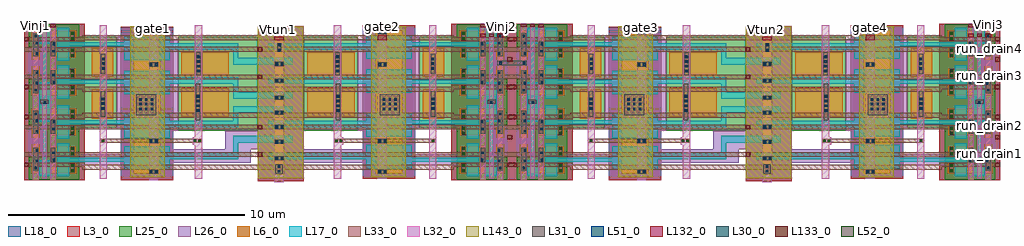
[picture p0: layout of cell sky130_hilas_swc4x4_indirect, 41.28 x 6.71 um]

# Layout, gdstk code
from math import pi, radians
import gdstk
lib = gdstk.Library(unit=1e-6, precision=1e-09)
def R(c, l, rs):  # rectangles x0, y0, x1, y1
    for r in rs: c.add(gdstk.rectangle(r[:2], r[2:], *l))
def A(c, l, x, y, w, h, nx, ny, dx, dy):  # array of equal rectangles
    R(c, l, [(x+i*dx, y+j*dy, x+i*dx+w, y+j*dy+h) for i in range(nx) for j in range(ny)])
def P(c, l, *ps):  # polygons
    for p in ps: c.add(gdstk.Polygon(p, *l))
L3_0 = (3, 0)
L6_0 = (6, 0)
L17_0 = (17, 0)
L18_0 = (18, 0)
L25_0 = (25, 0)
L26_0 = (26, 0)
L30_0 = (30, 0)
L31_0 = (31, 0)
L32_0 = (32, 0)
L33_0 = (33, 0)
L51_0 = (51, 0)
L52_0 = (52, 0)
L132_0 = (132, 0)
L133_0 = (133, 0)
L143_0 = (143, 0)

m3_m2_cdns_6762458592114 = lib.new_cell('M3_M2_CDNS_6762458592114')
R(m3_m2_cdns_6762458592114, L32_0, [(-0.09,-0.19,0.09,0.19)])
R(m3_m2_cdns_6762458592114, L33_0, [(-0.09,-0.19,0.09,0.19)])
R(m3_m2_cdns_6762458592114, L52_0, [(-0.05,-0.15,0.05,-0.05), (-0.05,0.05,0.05,0.15)])

m2_m1_cdns_6762458592115 = lib.new_cell('M2_M1_CDNS_6762458592115')
R(m2_m1_cdns_6762458592115, L31_0, [(-0.09,-0.19,0.09,0.19)])
R(m2_m1_cdns_6762458592115, L32_0, [(-0.09,-0.19,0.09,0.19)])
R(m2_m1_cdns_6762458592115, L51_0, [(-0.05,-0.15,0.05,-0.05), (-0.05,0.05,0.05,0.15)])

m1_od_cdns_6762458592116 = lib.new_cell('M1_OD_CDNS_6762458592116')
R(m1_od_cdns_6762458592116, L6_0, [(-0.075,-0.18,0.075,0.18)])
R(m1_od_cdns_6762458592116, L30_0, [(-0.045,-0.15,0.045,-0.06), (-0.045,0.06,0.045,0.15)])
R(m1_od_cdns_6762458592116, L31_0, [(-0.09,-0.19,0.09,0.19)])

sky130_hilas_horizpcell0 = lib.new_cell('sky130_hilas_horizPcell01')
R(sky130_hilas_horizpcell0, L3_0, [(-2.89,0.4,-0.33,2.32)])
R(sky130_hilas_horizpcell0, L6_0, [(-2.54,0.71,-0.66,1.11), (-2.51,1.44,-1.43,1.84), (-1,1.495,-0.66,1.935)])
R(sky130_hilas_horizpcell0, L17_0, [(-2.235,0.57,-1.735,1.19), (-1.485,0.57,-0.985,1.25), (-2.295,1.19,-1.735,1.36), (-2.235,1.36,-1.735,1.98)])
R(sky130_hilas_horizpcell0, L18_0, [(-2.89,0.4,-0.33,2.32)])
P(sky130_hilas_horizpcell0, L25_0, [(-2.67,0.42),(-2.67,2.13),(-1.3,2.13),(-1.3,1.4),(-0.53,1.4),(-0.53,0.42)])
R(sky130_hilas_horizpcell0, L26_0, [(-1.125,1.4,-0.535,2.06)])
R(sky130_hilas_horizpcell0, L30_0, [(-0.875,0.88,-0.785,0.97), (-1.62,1.52,-1.53,1.61), (-0.915,1.62,-0.825,1.71)])
R(sky130_hilas_horizpcell0, L31_0, [(-0.94,0.8,-0.72,1.18), (-0.93,0.8,-0.73,1.15), (-0.93,1.15,-0.72,1.18), (-1.66,1.17,-1.46,1.77), (-0.94,1.18,-0.72,1.77)])
R(sky130_hilas_horizpcell0, L32_0, [(-1.68,0.42,-1.45,1.15), (-0.96,0.42,-0.69,1.12), (-1.29,0.47,-1.1,1.46), (-0.96,1.12,-0.69,1.67), (-1.68,1.15,-1.45,1.17), (-1.68,1.17,-1.45,1.41), (-1.68,1.41,-1.45,1.46), (-1.68,1.46,-1.45,2.32), (-1.29,1.46,-1.1,1.58), (-1.29,1.58,-1.1,2.32), (-0.96,1.67,-0.69,1.72), (-0.96,1.72,-0.69,1.81), (-0.96,1.81,-0.69,2.32)])
R(sky130_hilas_horizpcell0, L33_0, [(-2.89,0.97,-2.51,1.15), (-2.51,0.97,-0.33,1.15), (-2.89,1.4,-2.5,1.58), (-2.5,1.4,-0.33,1.58)])
R(sky130_hilas_horizpcell0, L51_0, [(-0.92,1.18,-0.82,1.28), (-1.65,1.21,-1.55,1.31)])
sky130_hilas_horizpcell0.add(gdstk.Reference(m3_m2_cdns_6762458592114, (-2.385,0.92)))
sky130_hilas_horizpcell0.add(gdstk.Reference(m3_m2_cdns_6762458592114, (-2.375,1.64)))
sky130_hilas_horizpcell0.add(gdstk.Reference(m2_m1_cdns_6762458592115, (-2.375,1.64)))
sky130_hilas_horizpcell0.add(gdstk.Reference(m2_m1_cdns_6762458592115, (-2.385,0.92)))
sky130_hilas_horizpcell0.add(gdstk.Reference(m1_od_cdns_6762458592116, (-2.375,1.64)))
sky130_hilas_horizpcell0.add(gdstk.Reference(m1_od_cdns_6762458592116, (-2.385,0.92)))

sky130_hilas_fgvaractorc = lib.new_cell('sky130_hilas_FGVaractorCapacitor')
R(sky130_hilas_fgvaractorc, L3_0, [(0,0,2.23,1.86)])
R(sky130_hilas_fgvaractorc, L6_0, [(0.56,0.325,1.67,1.555)])
R(sky130_hilas_fgvaractorc, L17_0, [(0.16,0.44,2.08,1.44)])
R(sky130_hilas_fgvaractorc, L18_0, [(0,0,2.23,1.86)])
R(sky130_hilas_fgvaractorc, L26_0, [(0,0.215,2.23,1.635)])
R(sky130_hilas_fgvaractorc, L32_0, [(0.65,0,1.03,1.86)])

m1_od_cdns_676245859215 = lib.new_cell('M1_OD_CDNS_676245859215')
R(m1_od_cdns_676245859215, L6_0, [(-0.075,-0.285,0.075,0.285)])
A(m1_od_cdns_676245859215, L30_0, -0.045, -0.255, 0.09, 0.09, 1, 3, 0, 0.21)
R(m1_od_cdns_676245859215, L31_0, [(-0.085,-0.295,0.085,0.295)])

m2_m1_cdns_676245859216 = lib.new_cell('M2_M1_CDNS_676245859216')
R(m2_m1_cdns_676245859216, L31_0, [(-0.09,-0.29,0.09,0.29)])
R(m2_m1_cdns_676245859216, L32_0, [(-0.09,-0.29,0.09,0.29)])
A(m2_m1_cdns_676245859216, L51_0, -0.05, -0.25, 0.1, 0.1, 1, 3, 0, 0.2)

m1_od_cdns_676245859217 = lib.new_cell('M1_OD_CDNS_676245859217')
R(m1_od_cdns_676245859217, L6_0, [(-0.075,-0.39,0.075,0.39)])
A(m1_od_cdns_676245859217, L30_0, -0.045, -0.36, 0.09, 0.09, 1, 4, 0, 0.21)
R(m1_od_cdns_676245859217, L31_0, [(-0.085,-0.4,0.085,0.4)])

m2_m1_cdns_676245859218 = lib.new_cell('M2_M1_CDNS_676245859218')
R(m2_m1_cdns_676245859218, L31_0, [(-0.09,-0.39,0.09,0.39)])
R(m2_m1_cdns_676245859218, L32_0, [(-0.09,-0.39,0.09,0.39)])
A(m2_m1_cdns_676245859218, L51_0, -0.05, -0.35, 0.1, 0.1, 1, 4, 0, 0.2)

m3_m2_cdns_676245859219 = lib.new_cell('M3_M2_CDNS_676245859219')
R(m3_m2_cdns_676245859219, L32_0, [(-0.09,-0.09,0.09,0.09)])
R(m3_m2_cdns_676245859219, L33_0, [(-0.09,-0.09,0.09,0.09)])
R(m3_m2_cdns_676245859219, L52_0, [(-0.05,-0.05,0.05,0.05)])

m3_m2_cdns_6762458592110 = lib.new_cell('M3_M2_CDNS_6762458592110')
R(m3_m2_cdns_6762458592110, L32_0, [(-0.19,-0.09,0.19,0.09)])
R(m3_m2_cdns_6762458592110, L33_0, [(-0.19,-0.09,0.19,0.09)])
R(m3_m2_cdns_6762458592110, L52_0, [(-0.15,-0.05,-0.05,0.05), (0.05,-0.05,0.15,0.05)])

m2_m1_cdns_6762458592111 = lib.new_cell('M2_M1_CDNS_6762458592111')
R(m2_m1_cdns_6762458592111, L31_0, [(-0.33,-0.29,0.33,0.29)])
R(m2_m1_cdns_6762458592111, L32_0, [(-0.33,-0.29,0.33,0.29)])
A(m2_m1_cdns_6762458592111, L51_0, -0.29, -0.25, 0.1, 0.1, 3, 3, 0.24, 0.2)

m1_od_cdns_6762458592112 = lib.new_cell('M1_OD_CDNS_6762458592112')
R(m1_od_cdns_6762458592112, L6_0, [(-0.315,-0.285,0.315,0.285)])
A(m1_od_cdns_6762458592112, L30_0, -0.285, -0.255, 0.09, 0.09, 3, 3, 0.24, 0.21)
R(m1_od_cdns_6762458592112, L31_0, [(-0.325,-0.295,0.325,0.295)])

m1_od_cdns_6762458592113 = lib.new_cell('M1_OD_CDNS_6762458592113')
R(m1_od_cdns_6762458592113, L6_0, [(-0.18,-0.075,0.18,0.075)])
R(m1_od_cdns_6762458592113, L30_0, [(-0.15,-0.045,-0.06,0.045), (0.06,-0.045,0.15,0.045)])
R(m1_od_cdns_6762458592113, L31_0, [(-0.19,-0.085,0.19,0.085)])

m2_m1_cdns_676245859213 = lib.new_cell('M2_M1_CDNS_676245859213')
R(m2_m1_cdns_676245859213, L31_0, [(-0.19,-0.09,0.19,0.09)])
R(m2_m1_cdns_676245859213, L32_0, [(-0.19,-0.09,0.19,0.09)])
R(m2_m1_cdns_676245859213, L51_0, [(-0.15,-0.05,-0.05,0.05), (0.05,-0.05,0.15,0.05)])

sky130_hilas_swc4x2_indi = lib.new_cell('sky130_hilas_swc4x2_indirect_subcellb')
R(sky130_hilas_swc4x2_indi, L3_0, [(8.045,3.24,8.215,3.34), (8.385,3.24,8.395,3.34), (8.045,3.34,8.395,3.35), (8.045,3.35,8.215,3.41)])
R(sky130_hilas_swc4x2_indi, L6_0, [(3.405,0.285,4.515,0.385), (3.405,1.57,4.515,1.76), (5.39,2.61,6.31,3.855), (0.515,2.66,2.51,3.915), (3.405,2.92,4.515,3.6), (5.39,4.36,6.31,5.6), (0.515,4.43,2.51,5.425), (3.405,4.77,4.515,5.04), (3.405,6.255,4.515,6.355)])
R(sky130_hilas_swc4x2_indi, L17_0, [(8.225,0.745,8.375,2.645), (4.925,0.79,7.275,0.96), (0.11,0.89,3.005,1.17), (0.11,2.24,3.005,2.52), (4.925,2.38,7.275,2.55), (8.01,3.17,8.51,3.46), (8.22,3.985,8.37,5.885), (4.925,4.08,7.275,4.25), (0.11,4.09,3.005,4.37), (0.11,5.53,3.005,5.81), (4.925,5.67,7.275,5.84)])
R(sky130_hilas_swc4x2_indi, L18_0, [(3.405,1.57,4.515,1.76), (3.405,4.77,4.515,5.04)])
R(sky130_hilas_swc4x2_indi, L25_0, [(6.86,1.575,8.19,1.805), (0.355,2.09,2.65,4.155), (5.24,2.23,6.46,4.005), (6.46,2.23,6.825,6.07), (5.24,4.005,6.46,6.07), (0.355,4.155,2.65,6.07), (8.195,4.29,8.37,5.63), (6.86,4.825,8.19,5.045)])
R(sky130_hilas_swc4x2_indi, L26_0, [(2.845,0.18,5.075,0.275), (5.075,0.64,6.825,1.11), (0,0.74,2.845,1.32), (8.195,1,8.37,2.34), (8.37,1.605,8.96,1.775), (2.65,2.09,2.845,5.96), (5.075,2.23,5.24,6.07), (2.845,3.045,5.075,3.475), (2.845,4.645,5.075,5.165), (8.37,4.855,8.96,5.015), (2.845,6.335,5.075,6.46)])
R(sky130_hilas_swc4x2_indi, L30_0, [(8.225,3.24,8.315,3.33)])
R(sky130_hilas_swc4x2_indi, L31_0, [(1.705,2.55,1.895,4.08), (5.725,2.7,5.915,3.76), (3.58,2.755,4.415,3.645), (8.145,3.24,8.475,3.41), (1.695,4.44,1.885,5.425), (5.72,4.52,5.91,5.365)])
R(sky130_hilas_swc4x2_indi, L32_0, [(1.635,0.06,1.945,1.51), (3.495,0.06,3.875,0.34), (5.665,0.06,5.965,1.52), (8.205,0.06,8.395,0.12), (7.835,0.25,7.995,0.32), (8.205,0.25,8.395,0.32), (8.645,0.25,8.805,0.32), (1.635,1.51,2.025,1.82), (5.665,1.52,5.965,1.54), (5.665,1.54,5.965,1.82), (1.635,1.82,1.945,6.56), (5.665,1.82,5.965,1.85), (5.665,1.85,5.965,6.56), (3.495,2.66,4.465,3.74), (8.285,3.11,8.395,3.21), (8.185,3.21,8.425,3.44), (7.835,3.31,7.995,3.32), (8.645,3.31,8.805,3.32), (3.495,6.19,3.875,6.56), (7.835,6.22,7.995,6.29), (8.205,6.22,8.395,6.29), (8.645,6.22,8.805,6.29), (8.205,6.5,8.395,6.56), (8.205,6.56,8.395,6.63), (7.815,6.61,8.045,6.63), (8.535,6.61,8.805,6.63)])
R(sky130_hilas_swc4x2_indi, L33_0, [(0.11,1,6.705,1.18), (1.645,1.585,5.965,1.765), (0.11,2.16,6.725,2.36), (0.11,4.27,6.725,4.47), (0.12,5.44,6.705,5.65)])
R(sky130_hilas_swc4x2_indi, L51_0, [(8.225,3.24,8.325,3.34)])
R(sky130_hilas_swc4x2_indi, L132_0, [(3.495,6.365,3.875,6.56), (7.815,6.485,8.045,6.63), (8.535,6.49,8.805,6.63), (8.205,6.5,8.395,6.63)])
R(sky130_hilas_swc4x2_indi, L133_0, [(8.97,0.57,9.165,0.75), (8.97,2.59,9.165,2.77), (8.97,3.86,9.165,4.04), (8.97,5.88,9.165,6.06)])
R(sky130_hilas_swc4x2_indi, L143_0, [(3.205,0.125,4.675,6.515)])
sky130_hilas_swc4x2_indi.add(gdstk.Reference(sky130_hilas_horizpcell0, (9.495,7.03), x_reflection=True))
sky130_hilas_swc4x2_indi.add(gdstk.Reference(sky130_hilas_horizpcell0, (9.495,2.89)))
sky130_hilas_swc4x2_indi.add(gdstk.Reference(sky130_hilas_horizpcell0, (9.495,3.74), x_reflection=True))
sky130_hilas_swc4x2_indi.add(gdstk.Reference(sky130_hilas_horizpcell0, (9.495,-0.4)))
sky130_hilas_swc4x2_indi.add(gdstk.Reference(sky130_hilas_fgvaractorc, (2.845,4.64)))
sky130_hilas_swc4x2_indi.add(gdstk.Reference(sky130_hilas_fgvaractorc, (2.845,3.2)))
sky130_hilas_swc4x2_indi.add(gdstk.Reference(sky130_hilas_fgvaractorc, (2.845,1.35)))
sky130_hilas_swc4x2_indi.add(gdstk.Reference(sky130_hilas_fgvaractorc, (2.845,0)))
sky130_hilas_swc4x2_indi.add(gdstk.Reference(m1_od_cdns_676245859215, (5.82,3.245)))
sky130_hilas_swc4x2_indi.add(gdstk.Reference(m1_od_cdns_676245859215, (5.815,4.94)))
sky130_hilas_swc4x2_indi.add(gdstk.Reference(m2_m1_cdns_676245859216, (5.82,3.245)))
sky130_hilas_swc4x2_indi.add(gdstk.Reference(m2_m1_cdns_676245859216, (5.815,4.94)))
sky130_hilas_swc4x2_indi.add(gdstk.Reference(m1_od_cdns_676245859217, (1.805,3.255)))
sky130_hilas_swc4x2_indi.add(gdstk.Reference(m1_od_cdns_676245859217, (1.79,4.925)))
sky130_hilas_swc4x2_indi.add(gdstk.Reference(m2_m1_cdns_676245859218, (1.805,3.255)))
sky130_hilas_swc4x2_indi.add(gdstk.Reference(m2_m1_cdns_676245859218, (1.79,4.925)))
sky130_hilas_swc4x2_indi.add(gdstk.Reference(m3_m2_cdns_676245859219, (5.82,1.675)))
sky130_hilas_swc4x2_indi.add(gdstk.Reference(m3_m2_cdns_6762458592110, (1.835,1.675)))
sky130_hilas_swc4x2_indi.add(gdstk.Reference(m2_m1_cdns_6762458592111, (3.995,3.225)))
sky130_hilas_swc4x2_indi.add(gdstk.Reference(m1_od_cdns_6762458592112, (3.995,3.225)))
sky130_hilas_swc4x2_indi.add(gdstk.Reference(m1_od_cdns_6762458592113, (3.685,0.365)))
sky130_hilas_swc4x2_indi.add(gdstk.Reference(m1_od_cdns_6762458592113, (3.685,1.66)))
sky130_hilas_swc4x2_indi.add(gdstk.Reference(m1_od_cdns_6762458592113, (3.685,4.9)))
sky130_hilas_swc4x2_indi.add(gdstk.Reference(m1_od_cdns_6762458592113, (3.685,6.275)))
sky130_hilas_swc4x2_indi.add(gdstk.Reference(m2_m1_cdns_676245859213, (3.685,0.365)))
sky130_hilas_swc4x2_indi.add(gdstk.Reference(m2_m1_cdns_676245859213, (3.685,1.66)))
sky130_hilas_swc4x2_indi.add(gdstk.Reference(m2_m1_cdns_676245859213, (3.685,6.275)))
sky130_hilas_swc4x2_indi.add(gdstk.Reference(m2_m1_cdns_676245859213, (3.685,4.9)))
sky130_hilas_swc4x2_indi.add(gdstk.Label('col_sel', (8.3,6.45), layer=132, texttype=0))
sky130_hilas_swc4x2_indi.add(gdstk.Label('run_source', (7.915,6.565), layer=132, texttype=0))
sky130_hilas_swc4x2_indi.add(gdstk.Label('Vgate', (3.69,6.48), layer=132, texttype=0))
sky130_hilas_swc4x2_indi.add(gdstk.Label('Vinj', (8.665,6.57), layer=132, texttype=0))
sky130_hilas_swc4x2_indi.add(gdstk.Label('prog_drain1', (9.045,0.67), layer=133, texttype=0))
sky130_hilas_swc4x2_indi.add(gdstk.Label('prog_drain2', (9.04,2.705), layer=133, texttype=0))
sky130_hilas_swc4x2_indi.add(gdstk.Label('prog_drain3', (9.055,3.965), layer=133, texttype=0))
sky130_hilas_swc4x2_indi.add(gdstk.Label('prog_drain4', (9.055,5.985), layer=133, texttype=0))

sky130_hilas_tuncap01_v2 = lib.new_cell('sky130_hilas_TunCap01_v2')
R(sky130_hilas_tuncap01_v2, L3_0, [(-14.63,-3.945,-13.09,-2.14)])
R(sky130_hilas_tuncap01_v2, L6_0, [(-14.06,-3.67,-13.66,-2.47)])
R(sky130_hilas_tuncap01_v2, L18_0, [(-14.63,-3.945,-13.09,-2.14)])
R(sky130_hilas_tuncap01_v2, L26_0, [(-14.52,-3.8,-13.2,-2.34)])

m2_m1_cdns_676245859211 = lib.new_cell('M2_M1_CDNS_676245859211')
R(m2_m1_cdns_676245859211, L31_0, [(-0.09,-0.19,0.09,0.19)])
R(m2_m1_cdns_676245859211, L32_0, [(-0.09,-0.19,0.09,0.19)])
R(m2_m1_cdns_676245859211, L51_0, [(-0.05,-0.15,0.05,-0.05), (-0.05,0.05,0.05,0.15)])

m1_od_cdns_6762458592117 = lib.new_cell('M1_OD_CDNS_6762458592117')
R(m1_od_cdns_6762458592117, L6_0, [(-0.075,-0.18,0.075,0.18)])
R(m1_od_cdns_6762458592117, L30_0, [(-0.045,-0.15,0.045,-0.06), (-0.045,0.06,0.045,0.15)])
R(m1_od_cdns_6762458592117, L31_0, [(-0.085,-0.19,0.085,0.19)])

c_sky130_hilas_swc4x2_indi = lib.new_cell('sky130_hilas_swc4x2_indirect_subcella')
R(c_sky130_hilas_swc4x2_indi, L3_0, [(0,0.055,0.16,6.6), (1.7,0.055,1.945,6.6), (0.16,3.06,1.7,3.395), (9.635,3.325,9.805,3.425), (9.975,3.325,9.985,3.425), (9.635,3.425,9.985,3.435), (9.635,3.435,9.805,3.495), (0.16,6.375,1.7,6.6)])
R(c_sky130_hilas_swc4x2_indi, L6_0, [(4.995,0.37,6.105,0.47), (4.995,1.655,6.105,1.845), (6.98,2.695,7.9,3.94), (0.73,2.73,1.13,3.67), (2.105,2.745,4.1,4), (4.995,3.005,6.105,3.685), (6.98,4.445,7.9,5.685), (2.105,4.515,4.1,5.51), (4.995,4.855,6.105,5.125), (0.73,6.045,1.13,6.43), (4.995,6.34,6.105,6.44)])
R(c_sky130_hilas_swc4x2_indi, L17_0, [(9.815,0.83,9.965,2.73), (6.515,0.875,8.865,1.045), (0.45,0.975,1.7,1.255), (1.7,0.975,4.595,1.255), (0.45,2.325,1.7,2.605), (1.7,2.325,4.595,2.605), (6.515,2.465,8.865,2.635), (9.6,3.255,10.1,3.545), (9.81,4.07,9.96,5.97), (6.515,4.165,8.865,4.335), (0.45,4.175,1.7,4.455), (1.7,4.175,4.595,4.455), (0.45,5.615,1.7,5.895), (1.7,5.615,4.595,5.895), (6.515,5.755,8.865,5.925)])
R(c_sky130_hilas_swc4x2_indi, L18_0, [(0,0.055,0.16,6.6), (1.7,0.055,1.945,6.6), (4.995,1.655,6.105,1.845), (0.16,3.06,1.7,3.395), (4.995,4.855,6.105,5.125), (0.16,6.375,1.7,6.6)])
R(c_sky130_hilas_swc4x2_indi, L25_0, [(8.45,1.66,9.78,1.89), (1.945,2.175,4.24,4.24), (6.83,2.315,8.05,4.09), (8.05,2.315,8.415,6.155), (6.83,4.09,8.05,6.155), (1.945,4.24,4.24,6.155), (9.785,4.375,9.96,5.715), (8.45,4.91,9.78,5.13)])
R(c_sky130_hilas_swc4x2_indi, L26_0, [(0,0.2,0.27,6.575), (1.59,0.2,1.945,6.575), (4.435,0.265,6.665,0.36), (6.665,0.725,8.415,1.195), (1.59,0.825,4.435,1.405), (9.785,1.085,9.96,2.425), (9.96,1.69,10.55,1.86), (4.24,2.175,4.435,6.045), (6.665,2.315,6.83,6.155), (0.27,2.86,1.59,3.54), (4.435,3.13,6.665,3.56), (4.435,4.73,6.665,5.25), (9.96,4.94,10.55,5.1), (0.27,6.175,1.59,6.575), (4.435,6.42,6.665,6.545)])
R(c_sky130_hilas_swc4x2_indi, L30_0, [(9.815,3.325,9.905,3.415)])
R(c_sky130_hilas_swc4x2_indi, L31_0, [(0.75,0.365,1.055,0.775), (3.295,2.635,3.485,4.165), (7.315,2.785,7.505,3.845), (5.17,2.84,6.005,3.73), (9.735,3.325,10.065,3.495), (3.285,4.525,3.475,5.51), (7.31,4.605,7.5,5.45)])
R(c_sky130_hilas_swc4x2_indi, L32_0, [(0.7,0,1.1,6.5), (3.225,0.145,3.535,1.595), (5.085,0.145,5.465,0.425), (7.255,0.145,7.555,1.605), (9.795,0.145,9.985,0.205), (9.425,0.335,9.585,0.405), (9.795,0.335,9.985,0.405), (10.235,0.335,10.395,0.405), (3.225,1.595,3.615,1.905), (7.255,1.605,7.555,1.625), (7.255,1.625,7.555,1.905), (3.225,1.905,3.535,6.645), (7.255,1.905,7.555,1.935), (7.255,1.935,7.555,6.645), (5.085,2.745,6.055,3.825), (9.875,3.195,9.985,3.295), (9.775,3.295,10.015,3.525), (9.425,3.395,9.585,3.405), (10.235,3.395,10.395,3.405), (5.085,6.275,5.465,6.645), (9.425,6.305,9.585,6.375), (9.795,6.305,9.985,6.375), (10.235,6.305,10.395,6.375), (0.7,6.5,1.1,6.6), (9.795,6.585,9.985,6.645), (9.795,6.645,9.985,6.715), (9.405,6.695,9.635,6.715), (10.125,6.695,10.395,6.715)])
R(c_sky130_hilas_swc4x2_indi, L33_0, [(0,1.085,8.295,1.265), (3.235,1.67,7.555,1.85), (0,2.245,8.315,2.445), (0,4.355,8.315,4.555), (0,5.525,8.295,5.735)])
R(c_sky130_hilas_swc4x2_indi, L51_0, [(9.815,3.325,9.915,3.425)])
R(c_sky130_hilas_swc4x2_indi, L132_0, [(0.7,6.45,1.1,6.6), (5.085,6.45,5.465,6.645), (9.405,6.57,9.635,6.715), (10.125,6.575,10.395,6.715), (9.795,6.585,9.985,6.715)])
R(c_sky130_hilas_swc4x2_indi, L133_0, [(10.56,0.655,10.755,0.835), (0,1.085,0.19,1.265), (0,2.245,0.19,2.425), (10.56,2.675,10.755,2.855), (10.56,3.945,10.755,4.125), (0.005,4.375,0.195,4.555), (0.002,5.535,0.197,5.715), (10.56,5.965,10.755,6.145)])
R(c_sky130_hilas_swc4x2_indi, L143_0, [(0.005,0.17,1.935,6.59), (4.795,0.21,6.265,6.6)])
c_sky130_hilas_swc4x2_indi.add(gdstk.Reference(sky130_hilas_fgvaractorc, (4.435,4.785)))
c_sky130_hilas_swc4x2_indi.add(gdstk.Reference(sky130_hilas_fgvaractorc, (4.435,3.345)))
c_sky130_hilas_swc4x2_indi.add(gdstk.Reference(sky130_hilas_fgvaractorc, (4.435,1.495)))
c_sky130_hilas_swc4x2_indi.add(gdstk.Reference(sky130_hilas_fgvaractorc, (4.435,0.145)))
c_sky130_hilas_swc4x2_indi.add(gdstk.Reference(sky130_hilas_tuncap01_v2, (14.79,4)))
c_sky130_hilas_swc4x2_indi.add(gdstk.Reference(sky130_hilas_tuncap01_v2, (14.79,7.34)))
c_sky130_hilas_swc4x2_indi.add(gdstk.Reference(sky130_hilas_tuncap01_v2, (14.79,5.2)))
c_sky130_hilas_swc4x2_indi.add(gdstk.Reference(sky130_hilas_tuncap01_v2, (14.79,8.515)))
c_sky130_hilas_swc4x2_indi.add(gdstk.Reference(sky130_hilas_horizpcell0, (11.085,7.115), x_reflection=True))
c_sky130_hilas_swc4x2_indi.add(gdstk.Reference(sky130_hilas_horizpcell0, (11.085,2.975)))
c_sky130_hilas_swc4x2_indi.add(gdstk.Reference(sky130_hilas_horizpcell0, (11.085,3.825), x_reflection=True))
c_sky130_hilas_swc4x2_indi.add(gdstk.Reference(sky130_hilas_horizpcell0, (11.085,-0.315)))
c_sky130_hilas_swc4x2_indi.add(gdstk.Reference(m2_m1_cdns_676245859211, (0.905,0.57)))
c_sky130_hilas_swc4x2_indi.add(gdstk.Reference(m1_od_cdns_6762458592117, (0.905,0.57)))
c_sky130_hilas_swc4x2_indi.add(gdstk.Reference(m1_od_cdns_676245859215, (7.41,3.33)))
c_sky130_hilas_swc4x2_indi.add(gdstk.Reference(m1_od_cdns_676245859215, (7.405,5.025)))
c_sky130_hilas_swc4x2_indi.add(gdstk.Reference(m2_m1_cdns_676245859216, (7.41,3.33)))
c_sky130_hilas_swc4x2_indi.add(gdstk.Reference(m2_m1_cdns_676245859216, (7.405,5.025)))
c_sky130_hilas_swc4x2_indi.add(gdstk.Reference(m1_od_cdns_676245859217, (3.395,3.34)))
c_sky130_hilas_swc4x2_indi.add(gdstk.Reference(m1_od_cdns_676245859217, (3.38,5.01)))
c_sky130_hilas_swc4x2_indi.add(gdstk.Reference(m2_m1_cdns_676245859218, (3.395,3.34)))
c_sky130_hilas_swc4x2_indi.add(gdstk.Reference(m2_m1_cdns_676245859218, (3.38,5.01)))
c_sky130_hilas_swc4x2_indi.add(gdstk.Reference(m3_m2_cdns_676245859219, (7.41,1.76)))
c_sky130_hilas_swc4x2_indi.add(gdstk.Reference(m3_m2_cdns_6762458592110, (3.425,1.76)))
c_sky130_hilas_swc4x2_indi.add(gdstk.Reference(m2_m1_cdns_6762458592111, (5.585,3.31)))
c_sky130_hilas_swc4x2_indi.add(gdstk.Reference(m1_od_cdns_6762458592112, (5.585,3.31)))
c_sky130_hilas_swc4x2_indi.add(gdstk.Reference(m1_od_cdns_6762458592113, (5.275,0.45)))
c_sky130_hilas_swc4x2_indi.add(gdstk.Reference(m1_od_cdns_6762458592113, (5.275,1.745)))
c_sky130_hilas_swc4x2_indi.add(gdstk.Reference(m1_od_cdns_6762458592113, (5.275,4.985)))
c_sky130_hilas_swc4x2_indi.add(gdstk.Reference(m1_od_cdns_6762458592113, (5.275,6.36)))
c_sky130_hilas_swc4x2_indi.add(gdstk.Reference(m2_m1_cdns_676245859213, (5.275,0.45)))
c_sky130_hilas_swc4x2_indi.add(gdstk.Reference(m2_m1_cdns_676245859213, (5.275,1.745)))
c_sky130_hilas_swc4x2_indi.add(gdstk.Reference(m2_m1_cdns_676245859213, (5.275,6.36)))
c_sky130_hilas_swc4x2_indi.add(gdstk.Reference(m2_m1_cdns_676245859213, (5.275,4.985)))
c_sky130_hilas_swc4x2_indi.add(gdstk.Label('col_sel', (9.89,6.535), layer=132, texttype=0))
c_sky130_hilas_swc4x2_indi.add(gdstk.Label('run_source', (9.505,6.65), layer=132, texttype=0))
c_sky130_hilas_swc4x2_indi.add(gdstk.Label('Vtun', (0.9,6.525), layer=132, texttype=0))
c_sky130_hilas_swc4x2_indi.add(gdstk.Label('Vgate', (5.28,6.565), layer=132, texttype=0))
c_sky130_hilas_swc4x2_indi.add(gdstk.Label('Vinj', (10.255,6.655), layer=132, texttype=0))
c_sky130_hilas_swc4x2_indi.add(gdstk.Label('run_drain4', (0.082,5.64), layer=133, texttype=0))
c_sky130_hilas_swc4x2_indi.add(gdstk.Label('run_drain3', (0.095,4.47), layer=133, texttype=0))
c_sky130_hilas_swc4x2_indi.add(gdstk.Label('run_drain2', (0.105,2.355), layer=133, texttype=0))
c_sky130_hilas_swc4x2_indi.add(gdstk.Label('run_drain1', (0.095,1.18), layer=133, texttype=0))
c_sky130_hilas_swc4x2_indi.add(gdstk.Label('prog_drain1', (10.635,0.755), layer=133, texttype=0))
c_sky130_hilas_swc4x2_indi.add(gdstk.Label('prog_drain2', (10.63,2.79), layer=133, texttype=0))
c_sky130_hilas_swc4x2_indi.add(gdstk.Label('prog_drain3', (10.645,4.05), layer=133, texttype=0))
c_sky130_hilas_swc4x2_indi.add(gdstk.Label('prog_drain4', (10.645,6.07), layer=133, texttype=0))

m1_od_cdns_676245859212 = lib.new_cell('M1_OD_CDNS_676245859212')
R(m1_od_cdns_676245859212, L6_0, [(-0.075,-0.18,0.075,0.18)])
R(m1_od_cdns_676245859212, L30_0, [(-0.045,-0.15,0.045,-0.06), (-0.045,0.06,0.045,0.15)])
R(m1_od_cdns_676245859212, L31_0, [(-0.09,-0.19,0.09,0.19)])

m1_od_cdns_676245859214 = lib.new_cell('M1_OD_CDNS_676245859214')
R(m1_od_cdns_676245859214, L6_0, [(-0.18,-0.075,0.18,0.075)])
R(m1_od_cdns_676245859214, L30_0, [(-0.15,-0.045,-0.06,0.045), (0.06,-0.045,0.15,0.045)])
R(m1_od_cdns_676245859214, L31_0, [(-0.19,-0.09,0.19,0.09)])

c_sky130_hilas_swc4x2_indi_ = lib.new_cell('sky130_hilas_swc4x2_indirect')
R(c_sky130_hilas_swc4x2_indi_, L17_0, [(9.18,1.17,9.395,1.6), (9.18,1.6,11.71,1.88), (9.18,2.52,9.395,2.855), (9.18,2.855,11.71,3.135), (9.18,3.45,11.71,3.73), (9.18,3.73,9.395,4.09), (9.18,4.9,11.71,5.18), (9.18,5.18,9.395,5.53)])
R(c_sky130_hilas_swc4x2_indi_, L25_0, [(9.15,2.09,10.225,6.07)])
R(c_sky130_hilas_swc4x2_indi_, L26_0, [(9.505,0.74,9.93,1.32), (8.86,1.32,10.495,2.09)])
R(c_sky130_hilas_swc4x2_indi_, L33_0, [(2.81,0.455,18.51,0.655), (9.395,1,10.225,1.18), (9.395,2.16,10.225,2.36), (2.81,2.65,18.51,2.85), (2.81,3.75,18.51,3.95), (9.395,4.27,10.225,4.47), (9.385,5.44,10.225,5.65), (2.81,5.93,18.51,6.13)])
R(c_sky130_hilas_swc4x2_indi_, L132_0, [(10.925,5.935,11.325,6.085), (15.31,5.935,15.69,6.13), (19.63,6.055,19.86,6.2), (20.35,6.06,20.62,6.2), (20.02,6.07,20.21,6.2), (5.63,6.365,6.01,6.56), (1.46,6.485,1.69,6.63), (0.7,6.49,0.97,6.63), (1.11,6.5,1.3,6.63)])
R(c_sky130_hilas_swc4x2_indi_, L133_0, [(0.34,0.57,0.535,0.75), (20.78,0.57,20.98,0.75), (20.78,1.73,20.98,1.91), (0.34,2.59,0.535,2.77), (0.34,3.86,0.535,4.04), (20.76,3.86,20.98,4.04), (20.78,5.02,20.98,5.2), (0.34,5.88,0.535,6.06)])
c_sky130_hilas_swc4x2_indi_.add(gdstk.Reference(sky130_hilas_swc4x2_indi, (9.505,0), rotation=pi, x_reflection=True))
c_sky130_hilas_swc4x2_indi_.add(gdstk.Reference(c_sky130_hilas_swc4x2_indi, (10.225,-0.085)))
c_sky130_hilas_swc4x2_indi_.add(gdstk.Reference(m2_m1_cdns_676245859211, (11.135,5.62)))
c_sky130_hilas_swc4x2_indi_.add(gdstk.Reference(m1_od_cdns_676245859212, (11.135,5.62)))
c_sky130_hilas_swc4x2_indi_.add(gdstk.Reference(m2_m1_cdns_676245859213, (11.14,2.26)))
c_sky130_hilas_swc4x2_indi_.add(gdstk.Reference(m2_m1_cdns_676245859213, (11.14,4.92)))
c_sky130_hilas_swc4x2_indi_.add(gdstk.Reference(m2_m1_cdns_676245859213, (11.14,4.215)))
c_sky130_hilas_swc4x2_indi_.add(gdstk.Reference(m2_m1_cdns_676245859213, (11.14,3.495)))
c_sky130_hilas_swc4x2_indi_.add(gdstk.Reference(m2_m1_cdns_676245859213, (11.14,2.865)))
c_sky130_hilas_swc4x2_indi_.add(gdstk.Reference(m2_m1_cdns_676245859213, (11.14,1.63)))
c_sky130_hilas_swc4x2_indi_.add(gdstk.Reference(m2_m1_cdns_676245859213, (11.14,0.935)))
c_sky130_hilas_swc4x2_indi_.add(gdstk.Reference(m1_od_cdns_676245859214, (11.14,2.26)))
c_sky130_hilas_swc4x2_indi_.add(gdstk.Reference(m1_od_cdns_676245859214, (11.14,4.92)))
c_sky130_hilas_swc4x2_indi_.add(gdstk.Reference(m1_od_cdns_676245859214, (11.14,4.215)))
c_sky130_hilas_swc4x2_indi_.add(gdstk.Reference(m1_od_cdns_676245859214, (11.14,3.495)))
c_sky130_hilas_swc4x2_indi_.add(gdstk.Reference(m1_od_cdns_676245859214, (11.14,2.865)))
c_sky130_hilas_swc4x2_indi_.add(gdstk.Reference(m1_od_cdns_676245859214, (11.14,1.63)))
c_sky130_hilas_swc4x2_indi_.add(gdstk.Reference(m1_od_cdns_676245859214, (11.14,0.935)))
c_sky130_hilas_swc4x2_indi_.add(gdstk.Label('Vgate2', (15.495,6.04), layer=132, texttype=0))
c_sky130_hilas_swc4x2_indi_.add(gdstk.Label('run_source2', (19.73,6.135), layer=132, texttype=0))
c_sky130_hilas_swc4x2_indi_.add(gdstk.Label('col_sel2', (20.095,6.12), layer=132, texttype=0))
c_sky130_hilas_swc4x2_indi_.add(gdstk.Label('Vinj2', (20.505,6.135), layer=132, texttype=0))
c_sky130_hilas_swc4x2_indi_.add(gdstk.Label('Vtun', (11.125,6.045), layer=132, texttype=0))
c_sky130_hilas_swc4x2_indi_.add(gdstk.Label('Vgate1', (5.815,6.48), layer=132, texttype=0))
c_sky130_hilas_swc4x2_indi_.add(gdstk.Label('run_source1', (1.59,6.565), layer=132, texttype=0))
c_sky130_hilas_swc4x2_indi_.add(gdstk.Label('col_sel1', (1.175,6.44), layer=132, texttype=0))
c_sky130_hilas_swc4x2_indi_.add(gdstk.Label('Vinj1', (0.84,6.57), layer=132, texttype=0))
c_sky130_hilas_swc4x2_indi_.add(gdstk.Label('run_drain4', (20.885,5.125), layer=133, texttype=0))
c_sky130_hilas_swc4x2_indi_.add(gdstk.Label('run_drain3', (20.885,3.95), layer=133, texttype=0))
c_sky130_hilas_swc4x2_indi_.add(gdstk.Label('run_drain2', (20.875,1.825), layer=133, texttype=0))
c_sky130_hilas_swc4x2_indi_.add(gdstk.Label('run_drain1', (20.885,0.665), layer=133, texttype=0))
c_sky130_hilas_swc4x2_indi_.add(gdstk.Label('prog_drain4', (0.41,5.98), layer=133, texttype=0))
c_sky130_hilas_swc4x2_indi_.add(gdstk.Label('prog_drain3', (0.405,3.955), layer=133, texttype=0))
c_sky130_hilas_swc4x2_indi_.add(gdstk.Label('prog_drain2', (0.42,2.68), layer=133, texttype=0))
c_sky130_hilas_swc4x2_indi_.add(gdstk.Label('prog_drain1', (0.4,0.655), layer=133, texttype=0))

m2_m1_cdns_676245859210 = lib.new_cell('M2_M1_CDNS_676245859210')
R(m2_m1_cdns_676245859210, L31_0, [(-0.09,-0.09,0.09,0.09)])
R(m2_m1_cdns_676245859210, L32_0, [(-0.09,-0.09,0.09,0.09)])
R(m2_m1_cdns_676245859210, L51_0, [(-0.05,-0.05,0.05,0.05)])

sky130_hilas_swc4x4_indi = lib.new_cell('sky130_hilas_swc4x4_indirect')
R(sky130_hilas_swc4x4_indi, L31_0, [(20.35,4.96,21.61,5.14)])
R(sky130_hilas_swc4x4_indi, L132_0, [(5.63,6.45,6.01,6.645), (10.925,6.45,11.325,6.6), (15.31,6.45,15.69,6.645), (26.27,6.45,26.65,6.645), (31.565,6.45,31.965,6.6), (35.955,6.455,36.33,6.645), (1.46,6.57,1.69,6.715), (19.63,6.57,19.86,6.715), (22.1,6.57,22.33,6.715), (40.27,6.57,40.5,6.715), (0.7,6.575,0.97,6.715), (20.35,6.575,20.62,6.715), (40.99,6.575,41.26,6.715), (1.11,6.585,1.3,6.715), (20.02,6.585,20.21,6.715), (21.75,6.585,21.94,6.715), (40.66,6.585,40.85,6.715)])
R(sky130_hilas_swc4x4_indi, L133_0, [(41.42,0.655,41.62,0.835), (41.42,1.085,41.62,1.265), (41.42,2.245,41.62,2.425), (41.425,2.675,41.62,2.855), (41.4,3.945,41.62,4.125), (41.4,4.375,41.62,4.555), (41.42,5.535,41.62,5.715), (41.425,5.965,41.62,6.145)])
sky130_hilas_swc4x4_indi.add(gdstk.Reference(c_sky130_hilas_swc4x2_indi_, (20.64,0.085)))
sky130_hilas_swc4x4_indi.add(gdstk.Reference(c_sky130_hilas_swc4x2_indi_, (0,0.085)))
sky130_hilas_swc4x4_indi.add(gdstk.Reference(m2_m1_cdns_676245859210, (21.49,5.05)))
sky130_hilas_swc4x4_indi.add(gdstk.Reference(m2_m1_cdns_676245859210, (20.49,5.05)))
sky130_hilas_swc4x4_indi.add(gdstk.Label('run_drain1', (41.515,1.225), layer=133, texttype=0))
sky130_hilas_swc4x4_indi.add(gdstk.Label('prog_drain1', (41.545,0.785), layer=133, texttype=0))
sky130_hilas_swc4x4_indi.add(gdstk.Label('run_drain2', (41.53,2.385), layer=133, texttype=0))
sky130_hilas_swc4x4_indi.add(gdstk.Label('prog_drain2', (41.51,2.83), layer=133, texttype=0))
sky130_hilas_swc4x4_indi.add(gdstk.Label('run_drain3', (41.525,4.505), layer=133, texttype=0))
sky130_hilas_swc4x4_indi.add(gdstk.Label('prog_drain3', (41.545,4.085), layer=133, texttype=0))
sky130_hilas_swc4x4_indi.add(gdstk.Label('run_drain4', (41.505,5.675), layer=133, texttype=0))
sky130_hilas_swc4x4_indi.add(gdstk.Label('prog_drain4', (41.495,6.115), layer=133, texttype=0))
sky130_hilas_swc4x4_indi.add(gdstk.Label('Vinj3', (41.125,6.665), layer=132, texttype=0))
sky130_hilas_swc4x4_indi.add(gdstk.Label('Vinj2', (20.525,6.585), layer=132, texttype=0))
sky130_hilas_swc4x4_indi.add(gdstk.Label('Vinj1', (0.845,6.615), layer=132, texttype=0))
sky130_hilas_swc4x4_indi.add(gdstk.Label('Vtun2', (31.75,6.47), layer=132, texttype=0))
sky130_hilas_swc4x4_indi.add(gdstk.Label('Vtun1', (11.105,6.475), layer=132, texttype=0))
sky130_hilas_swc4x4_indi.add(gdstk.Label('source4', (40.375,6.605), layer=132, texttype=0))
sky130_hilas_swc4x4_indi.add(gdstk.Label('source3', (22.22,6.595), layer=132, texttype=0))
sky130_hilas_swc4x4_indi.add(gdstk.Label('source2', (19.75,6.595), layer=132, texttype=0))
sky130_hilas_swc4x4_indi.add(gdstk.Label('source1', (1.6,6.595), layer=132, texttype=0))
sky130_hilas_swc4x4_indi.add(gdstk.Label('col_sel4', (40.75,6.615), layer=132, texttype=0))
sky130_hilas_swc4x4_indi.add(gdstk.Label('col_sel3', (21.835,6.59), layer=132, texttype=0))
sky130_hilas_swc4x4_indi.add(gdstk.Label('col_sel2', (20.105,6.59), layer=132, texttype=0))
sky130_hilas_swc4x4_indi.add(gdstk.Label('col_sel1', (1.21,6.625), layer=132, texttype=0))
sky130_hilas_swc4x4_indi.add(gdstk.Label('gate4', (36.13,6.54), layer=132, texttype=0))
sky130_hilas_swc4x4_indi.add(gdstk.Label('gate3', (26.445,6.555), layer=132, texttype=0))
sky130_hilas_swc4x4_indi.add(gdstk.Label('gate2', (15.5,6.59), layer=132, texttype=0))
sky130_hilas_swc4x4_indi.add(gdstk.Label('gate1', (5.805,6.505), layer=132, texttype=0))

lib.write_gds('sky130_hilas_swc4x4_indirect.gds')
